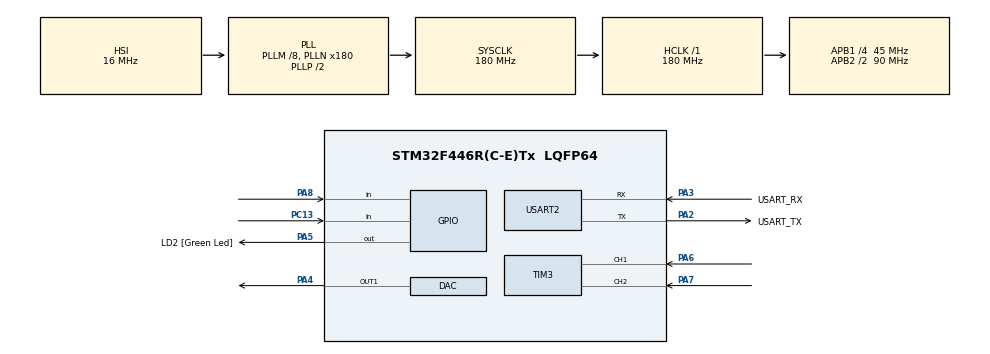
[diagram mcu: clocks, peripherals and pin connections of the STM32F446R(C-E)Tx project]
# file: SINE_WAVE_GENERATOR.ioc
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DAC.DAC_Trigger=DAC_TRIGGER_NONE
Mcu.Family=STM32F4
Mcu.Name=STM32F446R(C-E)Tx
Mcu.Package=LQFP64
NVIC.PriorityGroup=NVIC_PRIORITYGROUP_0
PA13.GPIO_Label=TMS
PA13.Mode=Serial_Wire
PA13.Signal=SYS_JTMS-SWDIO
PA14.GPIO_Label=TCK
PA14.Mode=Serial_Wire
PA14.Signal=SYS_JTCK-SWCLK
PA2.GPIO_Label=USART_TX
PA2.Mode=Asynchronous
PA2.Signal=USART2_TX
PA3.GPIO_Label=USART_RX
PA3.Mode=Asynchronous
PA3.Signal=USART2_RX
PA4.Signal=COMP_DAC1_group
PA5.GPIO_Label=LD2 [Green Led]
PA5.Signal=GPIO_Output
PA6.Signal=S_TIM3_CH1
PA7.Signal=S_TIM3_CH2
PA8.Signal=GPIO_Input
PB3.GPIO_Label=SWO
PB3.Signal=SYS_JTDO-SWO
PC13.Signal=GPIO_Input
PC14-OSC32_IN.Mode=LSE-External-Oscillator
PC14-OSC32_IN.Signal=RCC_OSC32_IN
PC15-OSC32_OUT.Mode=LSE-External-Oscillator
PC15-OSC32_OUT.Signal=RCC_OSC32_OUT
PH0-OSC_IN.Mode=HSE-External-Oscillator
PH0-OSC_IN.Signal=RCC_OSC_IN
PH1-OSC_OUT.Mode=HSE-External-Oscillator
PH1-OSC_OUT.Signal=RCC_OSC_OUT
ProjectManager.HeapSize=0x200
ProjectManager.StackSize=0x400
ProjectManager.TargetToolchain=STM32CubeIDE
RCC.48MHZClocksFreq_Value=84000000
RCC.AHBFreq_Value=180000000
RCC.APB1CLKDivider=RCC_HCLK_DIV4
RCC.APB1Freq_Value=45000000
RCC.APB1TimFreq_Value=90000000
RCC.APB2CLKDivider=RCC_HCLK_DIV2
RCC.APB2Freq_Value=90000000
RCC.APB2TimFreq_Value=180000000
RCC.CortexFreq_Value=180000000
RCC.FLatency-AdvancedSettings=FLASH_LATENCY_5
RCC.HCLKFreq_Value=180000000
RCC.HSE_VALUE=8000000
RCC.HSI_VALUE=16000000
RCC.PLLM=8
RCC.PLLN=180
RCC.SYSCLKFreq_VALUE=180000000
RCC.SYSCLKSource=RCC_SYSCLKSOURCE_PLLCLK
RCC.USBFreq_Value=180000000
RCC.VCOOutputFreq_Value=360000000
SH.COMP_DAC1_group.0=DAC_OUT1,DAC_OUT1
SH.S_TIM3_CH1.0=TIM3_CH1,Encoder_Interface
SH.S_TIM3_CH2.0=TIM3_CH2,Encoder_Interface
TIM2.Period=10000-1
TIM2.Prescaler=90-1
TIM3.EncoderMode=TIM_ENCODERMODE_TI12
TIM3.IC1Filter=0
TIM3.IC2Filter=5
USART2.VirtualMode=VM_ASYNC
VP_TIM2_VS_ClockSourceINT.Mode=Internal
board=NUCLEO-F446RE

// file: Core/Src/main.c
/* USER CODE BEGIN Header */
/**
 ******************************************************************************
 * @file           : main.c
 * @brief          : Main program body
 ******************************************************************************
 * @attention
 *
 * Copyright (c) 2024 STMicroelectronics.
 * All rights reserved.
 *
 * This software is licensed under terms that can be found in the LICENSE file
 * in the root directory of this software component.
 * If no LICENSE file comes with this software, it is provided AS-IS.
 *
 ******************************************************************************
 */
/* USER CODE END Header */
#include "main.h"

/* USER CODE BEGIN Includes */
#include "math.h"
#include <stdio.h>

/* USER CODE END Includes */

/* USER CODE BEGIN PD */
float voltage = 0;
int map = 0;
int Angle = 0;

int Delayer = 0;
float value = 0.2;
uint32_t var;
uint32_t sine_val[100];

#define PI 3.1415926

void get_sineval() {
	for (int i = 0; i < 100; i++) {
		sine_val[i] = ((sin(i * 2 * PI / 100) + 1) * (4096 / 2));
	}
}
//void get_sineval() {
//    for (int i = 0; i < 100; i++) {
//        sine_val[i] = (uint32_t)((sin(i * 2 * PI / 100) * 2047) + 2048);
//    }
//}

/* USER CODE END PD */

DAC_HandleTypeDef hdac;

TIM_HandleTypeDef htim2;
TIM_HandleTypeDef htim3;

UART_HandleTypeDef huart2;

/* USER CODE BEGIN PV */

uint16_t sinewave[100] = { 0, 4, 16, 36, 64, 100, 144, 195, 253, 319, 391, 470,
		555, 646, 742, 844, 950, 1061, 1176, 1294, 1415, 1538, 1664, 1791, 1919,
		2048, 2176, 2304, 2431, 2557, 2680, 2801, 2919, 3034, 3145, 3251, 3353,
		3449, 3540, 3625, 3704, 3776, 3842, 3900, 3951, 3995, 4031, 4059, 4079,
		4091, 4095, 4091, 4079, 4059, 4031, 3995, 3951, 3900, 3842, 3776, 3704,
		3625, 3540, 3449, 3353, 3251, 3145, 3034, 2919, 2801, 2680, 2557, 2431,
		2304, 2176, 2048, 1919, 1791, 1664, 1538, 1415, 1294, 1176, 1061, 950,
		844, 742, 646, 555, 470, 391, 319, 253, 195, 144, 100, 64, 36, 16, 4 };
/* USER CODE END PV */

void SystemClock_Config(void);
static void MX_GPIO_Init(void);
static void MX_USART2_UART_Init(void);
static void MX_DAC_Init(void);
static void MX_TIM2_Init(void);
static void MX_TIM3_Init(void);

/* USER CODE BEGIN 0 */

void microDelay(uint16_t delay) {
	__HAL_TIM_SET_COUNTER(&htim2, 0);
	while (__HAL_TIM_GET_COUNTER(&htim2) <= delay)
		;
}

/* USER CODE END 0 */

int main(void) {

	/* MCU Configuration--------------------------------------------------------*/

	/* Reset of all peripherals, Initializes the Flash interface and the Systick. */
	HAL_Init();

	/* Configure the system clock */
	SystemClock_Config();

	/* Initialize all configured peripherals */
	MX_GPIO_Init();
	MX_USART2_UART_Init();
	MX_DAC_Init();
	MX_TIM2_Init();
	MX_TIM3_Init();
	/* USER CODE BEGIN 2 */

	HAL_DAC_Start(&hdac, DAC1_CHANNEL_1);
	HAL_TIM_Base_Start(&htim2);

	HAL_DAC_SetValue(&hdac, DAC1_CHANNEL_1, DAC_ALIGN_12B_R, 2048);

	HAL_TIM_Encoder_Start(&htim3, TIM_CHANNEL_ALL);
	int counterValue = 0;
	float gain = 1.0;
	char printMessage[200] = { '\0' };
	char gain_data[200] = { '\0' };
	int current_ticks = 0;
	int previous_ticks = 0;
	TIM3->CNT = 32768;

	//get_sineval();
	//HAL_DAC_Start_DMA(&hdac, DAC_CHANNEL_1, sine_val, 100, DAC_ALIGN_12B_R);

	/* USER CODE END 2 */

	/* Infinite loop */
	/* USER CODE BEGIN WHILE */

	while (1) {
		current_ticks = HAL_GetTick();

		if (HAL_GPIO_ReadPin(GPIOC, GPIO_PIN_13) == GPIO_PIN_RESET && (current_ticks - previous_ticks) > 300) {
			//Turn LED ON
			HAL_GPIO_WritePin(GPIOA, GPIO_PIN_5, GPIO_PIN_SET);
				gain = gain + 0.1;
			previous_ticks = current_ticks;
		} else {
			//Turn LED OFF
			HAL_GPIO_WritePin(GPIOA, GPIO_PIN_5, GPIO_PIN_RESET);
		}

		if (HAL_GPIO_ReadPin(GPIOA, GPIO_PIN_8) == GPIO_PIN_SET && (current_ticks - previous_ticks) > 300) {
			//Turn LED ON
			HAL_GPIO_WritePin(GPIOA, GPIO_PIN_5, GPIO_PIN_SET);
			gain = gain - 0.1;
			previous_ticks = current_ticks;

		} else {
			//Turn LED OFF
			HAL_GPIO_WritePin(GPIOA, GPIO_PIN_5, GPIO_PIN_RESET);
		}

		if (gain > 1.0) {
			gain = 1.0;
		} else if (gain < 0.0) {
			gain = 0.0;
		}

		counterValue = TIM3->CNT;

		if (((counterValue - 32768) > 360)) {
			Delayer = Delayer + 1;
			TIM3->CNT = 32768;
		}

		if (((counterValue - 32768) < -360)) {
			Delayer = Delayer - 1;
			TIM3->CNT = 32768;
			if (Delayer < 1) {
				Delayer = 1;
			}
		}

		for (uint8_t i = 0; i <100; i++) {

			int var = (int)(((gain)*(float)sinewave[i]));

			HAL_DAC_SetValue(&hdac, DAC_CHANNEL_1, DAC_ALIGN_12B_R,var);
			microDelay(Delayer);
		}
//		sprintf(printMessage, "Encoder count is = %d \n\r", counterValue);
//		HAL_UART_Transmit(&huart2, (uint8_t*) printMessage,
//				sizeof(printMessage), 30);
//		sprintf(gain_data, "Gain is = %f \n\r", gain);
//		HAL_UART_Transmit(&huart2, (uint8_t*) gain_data, sizeof(gain_data),
//				30);

//		voltage = 1.65 + sin(Angle * 2 * PI / 360.0); // Generate sine wave value
//		map = (int) (voltage * (4095.0 / 3.3)); // Scale to 12-bit DAC
//		HAL_DAC_SetValue(&hdac, DAC_CHANNEL_1, DAC_ALIGN_12B_R, map); // Set DAC output
//
//		Angle += 1; // Increment angle to match resolution
//		if (Angle >= 360) {
//			Angle = 0;
//		}
//
//		HAL_Delay(10); // Adjust for desired sine wave frequency
//		voltage = 1.65 + sin(Angle * 2 * PI / 360.0);
//		map = (int) (voltage * (4095.0 / 3.3));
//		HAL_DAC_SetValue(&hdac, DAC1_CHANNEL_1, DAC_ALIGN_12B_R, map);
//		Angle = Angle + 1;
//		if (Angle > 360) {
//			Angle = 0;
//		}
//
//		HAL_Delay(200);
		/* USER CODE END WHILE */

		/* USER CODE BEGIN 3 */

//		value += 0.5;
//		HAL_Delay(750);
//
//		if (value > 3) {
//			value = 0.2;
//		}
	}
	/* USER CODE END 3 */
}

void SystemClock_Config(void) {
	RCC_OscInitTypeDef RCC_OscInitStruct = { 0 };
	RCC_ClkInitTypeDef RCC_ClkInitStruct = { 0 };

	/** Configure the main internal regulator output voltage
	 */
	__HAL_RCC_PWR_CLK_ENABLE();
	__HAL_PWR_VOLTAGESCALING_CONFIG(PWR_REGULATOR_VOLTAGE_SCALE1);

	/** Initializes the RCC Oscillators according to the specified parameters
	 * in the RCC_OscInitTypeDef structure.
	 */
	RCC_OscInitStruct.OscillatorType = RCC_OSCILLATORTYPE_HSI;
	RCC_OscInitStruct.HSIState = RCC_HSI_ON;
	RCC_OscInitStruct.HSICalibrationValue = RCC_HSICALIBRATION_DEFAULT;
	RCC_OscInitStruct.PLL.PLLState = RCC_PLL_ON;
	RCC_OscInitStruct.PLL.PLLSource = RCC_PLLSOURCE_HSI;
	RCC_OscInitStruct.PLL.PLLM = 8;
	RCC_OscInitStruct.PLL.PLLN = 180;
	RCC_OscInitStruct.PLL.PLLP = RCC_PLLP_DIV2;
	RCC_OscInitStruct.PLL.PLLQ = 2;
	RCC_OscInitStruct.PLL.PLLR = 2;
	if (HAL_RCC_OscConfig(&RCC_OscInitStruct) != HAL_OK) {
		Error_Handler();
	}

	/** Activate the Over-Drive mode
	 */
	if (HAL_PWREx_EnableOverDrive() != HAL_OK) {
		Error_Handler();
	}

	/** Initializes the CPU, AHB and APB buses clocks
	 */
	RCC_ClkInitStruct.ClockType = RCC_CLOCKTYPE_HCLK | RCC_CLOCKTYPE_SYSCLK
			| RCC_CLOCKTYPE_PCLK1 | RCC_CLOCKTYPE_PCLK2;
	RCC_ClkInitStruct.SYSCLKSource = RCC_SYSCLKSOURCE_PLLCLK;
	RCC_ClkInitStruct.AHBCLKDivider = RCC_SYSCLK_DIV1;
	RCC_ClkInitStruct.APB1CLKDivider = RCC_HCLK_DIV4;
	RCC_ClkInitStruct.APB2CLKDivider = RCC_HCLK_DIV2;

	if (HAL_RCC_ClockConfig(&RCC_ClkInitStruct, FLASH_LATENCY_5) != HAL_OK) {
		Error_Handler();
	}
}

static void MX_DAC_Init(void) {

	DAC_ChannelConfTypeDef sConfig = { 0 };

	/** DAC Initialization
	 */
	hdac.Instance = DAC;
	if (HAL_DAC_Init(&hdac) != HAL_OK) {
		Error_Handler();
	}

	/** DAC channel OUT1 config
	 */
	sConfig.DAC_Trigger = DAC_TRIGGER_NONE;
	sConfig.DAC_OutputBuffer = DAC_OUTPUTBUFFER_ENABLE;
	if (HAL_DAC_ConfigChannel(&hdac, &sConfig, DAC_CHANNEL_1) != HAL_OK) {
		Error_Handler();
	}

}

static void MX_TIM2_Init(void) {

	TIM_ClockConfigTypeDef sClockSourceConfig = { 0 };
	TIM_MasterConfigTypeDef sMasterConfig = { 0 };

	htim2.Instance = TIM2;
	htim2.Init.Prescaler = 90 - 1;
	htim2.Init.CounterMode = TIM_COUNTERMODE_UP;
	htim2.Init.Period = 10000 - 1;
	htim2.Init.ClockDivision = TIM_CLOCKDIVISION_DIV1;
	htim2.Init.AutoReloadPreload = TIM_AUTORELOAD_PRELOAD_DISABLE;
	if (HAL_TIM_Base_Init(&htim2) != HAL_OK) {
		Error_Handler();
	}
	sClockSourceConfig.ClockSource = TIM_CLOCKSOURCE_INTERNAL;
	if (HAL_TIM_ConfigClockSource(&htim2, &sClockSourceConfig) != HAL_OK) {
		Error_Handler();
	}
	sMasterConfig.MasterOutputTrigger = TIM_TRGO_RESET;
	sMasterConfig.MasterSlaveMode = TIM_MASTERSLAVEMODE_DISABLE;
	if (HAL_TIMEx_MasterConfigSynchronization(&htim2, &sMasterConfig)
			!= HAL_OK) {
		Error_Handler();
	}

}

static void MX_TIM3_Init(void) {

	TIM_Encoder_InitTypeDef sConfig = { 0 };
	TIM_MasterConfigTypeDef sMasterConfig = { 0 };

	htim3.Instance = TIM3;
	htim3.Init.Prescaler = 0;
	htim3.Init.CounterMode = TIM_COUNTERMODE_UP;
	htim3.Init.Period = 65535;
	htim3.Init.ClockDivision = TIM_CLOCKDIVISION_DIV1;
	htim3.Init.AutoReloadPreload = TIM_AUTORELOAD_PRELOAD_DISABLE;
	sConfig.EncoderMode = TIM_ENCODERMODE_TI12;
	sConfig.IC1Polarity = TIM_ICPOLARITY_RISING;
	sConfig.IC1Selection = TIM_ICSELECTION_DIRECTTI;
	sConfig.IC1Prescaler = TIM_ICPSC_DIV1;
	sConfig.IC1Filter = 0;
	sConfig.IC2Polarity = TIM_ICPOLARITY_RISING;
	sConfig.IC2Selection = TIM_ICSELECTION_DIRECTTI;
	sConfig.IC2Prescaler = TIM_ICPSC_DIV1;
	sConfig.IC2Filter = 5;
	if (HAL_TIM_Encoder_Init(&htim3, &sConfig) != HAL_OK) {
		Error_Handler();
	}
	sMasterConfig.MasterOutputTrigger = TIM_TRGO_RESET;
	sMasterConfig.MasterSlaveMode = TIM_MASTERSLAVEMODE_DISABLE;
	if (HAL_TIMEx_MasterConfigSynchronization(&htim3, &sMasterConfig)
			!= HAL_OK) {
		Error_Handler();
	}

}

static void MX_USART2_UART_Init(void) {

	huart2.Instance = USART2;
	huart2.Init.BaudRate = 115200;
	huart2.Init.WordLength = UART_WORDLENGTH_8B;
	huart2.Init.StopBits = UART_STOPBITS_1;
	huart2.Init.Parity = UART_PARITY_NONE;
	huart2.Init.Mode = UART_MODE_TX_RX;
	huart2.Init.HwFlowCtl = UART_HWCONTROL_NONE;
	huart2.Init.OverSampling = UART_OVERSAMPLING_16;
	if (HAL_UART_Init(&huart2) != HAL_OK) {
		Error_Handler();
	}

}

static void MX_GPIO_Init(void) {
	GPIO_InitTypeDef GPIO_InitStruct = { 0 };

	/* GPIO Ports Clock Enable */
	__HAL_RCC_GPIOC_CLK_ENABLE();
	__HAL_RCC_GPIOH_CLK_ENABLE();
	__HAL_RCC_GPIOA_CLK_ENABLE();
	__HAL_RCC_GPIOB_CLK_ENABLE();

	/*Configure GPIO pin Output Level */
	HAL_GPIO_WritePin(LD2_GPIO_Port, LD2_Pin, GPIO_PIN_RESET);

	/*Configure GPIO pin : PC13 */
	GPIO_InitStruct.Pin = GPIO_PIN_13;
	GPIO_InitStruct.Mode = GPIO_MODE_INPUT;
	GPIO_InitStruct.Pull = GPIO_NOPULL;
	HAL_GPIO_Init(GPIOC, &GPIO_InitStruct);

	/*Configure GPIO pin : LD2_Pin */
	GPIO_InitStruct.Pin = LD2_Pin;
	GPIO_InitStruct.Mode = GPIO_MODE_OUTPUT_PP;
	GPIO_InitStruct.Pull = GPIO_NOPULL;
	GPIO_InitStruct.Speed = GPIO_SPEED_FREQ_LOW;
	HAL_GPIO_Init(LD2_GPIO_Port, &GPIO_InitStruct);

	/*Configure GPIO pin : PA8 */
	GPIO_InitStruct.Pin = GPIO_PIN_8;
	GPIO_InitStruct.Mode = GPIO_MODE_INPUT;
	GPIO_InitStruct.Pull = GPIO_NOPULL;
	HAL_GPIO_Init(GPIOA, &GPIO_InitStruct);

}

void Error_Handler(void) {
	__disable_irq();
	while (1) {
	}
}
